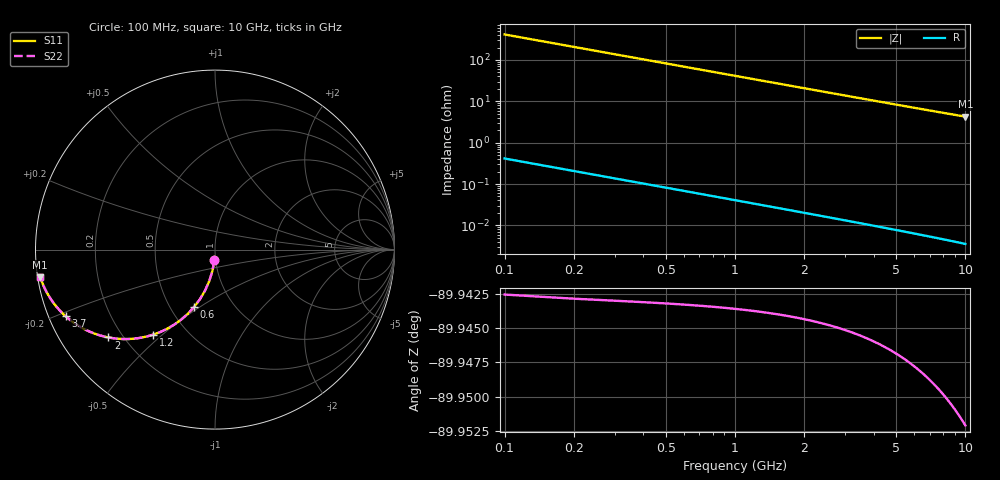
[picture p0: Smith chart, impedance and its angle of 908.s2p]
# Hz S RI R 50.00
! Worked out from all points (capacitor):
!   100 points, 100 MHz to 10 GHz, reference 50 ohm
!   read as one part in shunt: C = 3.85 pF near 100 MHz
!   lowest |Z| = 4.26 ohm at 10 GHz (marker M1)
!   S11 on the Smith chart (normalised r, x): 100 MHz: 0.99, -0.12; 600 MHz: 0.66, -0.47; 1.2 GHz: 0.32, -0.47; 2 GHz: 0.15, -0.35; 3.7 GHz: 0.05, -0.21; 10 GHz: 0.01, -0.08
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1e8  -0.00367 -0.0602  0.9963 -0.0603  0.9963 -0.0603  -0.00367 -0.0602
2e8  -0.0145 -0.119  0.9855 -0.1192  0.9855 -0.1192  -0.0145 -0.119
3e8  -0.032 -0.1753  0.968 -0.1756  0.968 -0.1756  -0.032 -0.1753
4e8  -0.0554 -0.2281  0.9446 -0.2285  0.9446 -0.2285  -0.0554 -0.2281
5e8  -0.0839 -0.2764  0.9161 -0.277  0.9161 -0.277  -0.0839 -0.2764
6e8  -0.1164 -0.3199  0.8835 -0.3206  0.8835 -0.3206  -0.1164 -0.3199
7e8  -0.152 -0.3582  0.8479 -0.3589  0.8479 -0.3589  -0.152 -0.3582
9e8  -0.2285 -0.4188  0.7715 -0.4199  0.7715 -0.4199  -0.2285 -0.4188
1.2e9  -0.3447 -0.4741  0.6552 -0.4755  0.6552 -0.4755  -0.3447 -0.4741
1.5e9  -0.451 -0.4962  0.549 -0.4979  0.549 -0.4979  -0.451 -0.4962
1.8e9  -0.5418 -0.4967  0.4582 -0.4988  0.4582 -0.4988  -0.5418 -0.4967
2e9  -0.5934 -0.4896  0.4066 -0.4918  0.4066 -0.4918  -0.5934 -0.4896
2.3e9  -0.6586 -0.4724  0.3413 -0.475  0.3413 -0.475  -0.6586 -0.4724
2.6e9  -0.7113 -0.4511  0.2886 -0.4541  0.2886 -0.4541  -0.7113 -0.4511
3e9  -0.7663 -0.4209  0.2336 -0.4243  0.2336 -0.4243  -0.7663 -0.4209
3.4e9  -0.8081 -0.3913  0.1918 -0.3952  0.1918 -0.3952  -0.8081 -0.3913
3.7e9  -0.8329 -0.3704  0.167 -0.3746  0.167 -0.3746  -0.8329 -0.3704
4.3e9  -0.8706 -0.3326  0.1293 -0.3375  0.1293 -0.3375  -0.8706 -0.3326
5.1e9  -0.9045 -0.2905  0.0955 -0.2963  0.0955 -0.2963  -0.9045 -0.2905
6.7e9  -0.9423 -0.2287  0.0576 -0.2363  0.0576 -0.2363  -0.9423 -0.2287
8.4e9  -0.9626 -0.1843  0.0373 -0.194  0.0373 -0.194  -0.9626 -0.1843
1e10  -0.9734 -0.1545  0.0265 -0.1661  0.0265 -0.1661  -0.9734 -0.1545
